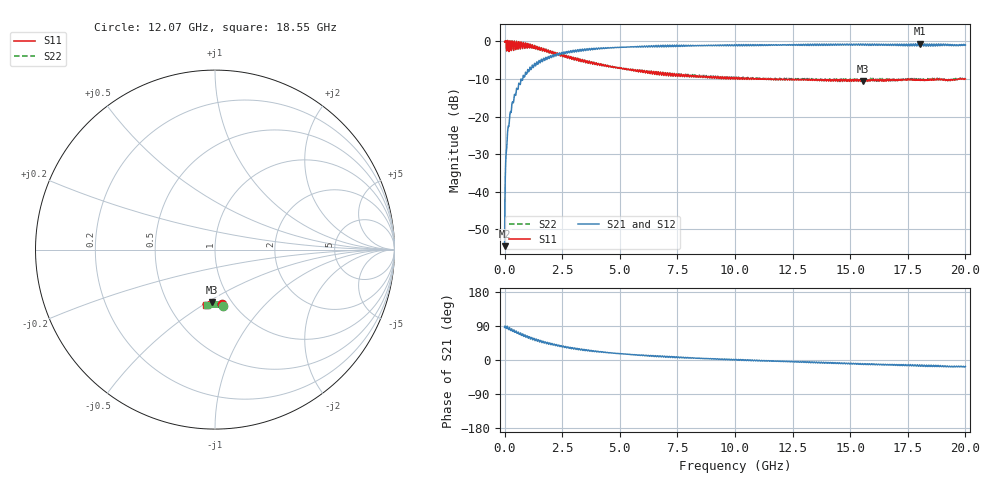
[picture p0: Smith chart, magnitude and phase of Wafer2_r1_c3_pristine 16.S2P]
!  2-Port S-parameters saved by WinCal
! VAR MeasName=S-Parameters (CALIBRATED_DATA) read from VNA (P5004A)
! VAR MeasDate=24/04/2024 16:19:15
! VAR NAME=Wafer2_r1_c3_pristine 16
! VAR FILENAME=Wafer2_r1_c3_pristine 16.S2P
! VAR DATE=24/04/2024 16:19:15
! VAR PHYS_PORTS=1,2
! VAR ObjTypeName=DATASET
! VAR IndexType=Frequency
# Hz S MA R 50
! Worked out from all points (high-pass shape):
!   4999 points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, 4.01 MHz to 20 GHz, reference 50 ohm
!   highest |S21| = -0.64 dB at 18.04 GHz (marker M1); lowest = -54.4 dB at 4.01 MHz (marker M2)
!   |S21| within 3 dB of the highest: 2.252 GHz to 2.321 GHz (69.85 MHz wide, 3.05 % of centre); 2.337 GHz to end of sweep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
!   lowest |S11| = -10.7 dB at 15.56 GHz (marker M3), VSWR 1.83, Z = 40.6 - j26 ohm
!   |S11| at or under -10 dB: 11.92 GHz to 18.46 GHz (6.541 GHz wide, 43.1 % of centre); 18.4675 GHz to 18.5571 GHz (89.6 MHz wide, 0.484 % of centre); 18.97 GHz to 19.69 GHz (714.4 MHz wide, 3.7 % of centre)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
!   |S22| runs from -10.7 to 0.2 dB; largest |S21 - S12| = 0.015
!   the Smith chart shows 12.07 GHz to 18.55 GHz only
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4009798  0.988 -3.1  0.001897 85.9  0.00192 85.9  0.9875 -3.0
7.602417e7  0.9003 -2.4  0.03336 83.5  0.03358 84.4  0.913 -2.3
1.080306e8  0.7905 -5.1  0.04457 87.5  0.04592 87.0  0.8213 -4.4
1.400369e8  1.025 -4.0  0.06651 84.3  0.06613 84.2  1.019 -4.2
1.840457e8  0.7684 -2.9  0.07435 81.5  0.07661 82.4  0.7955 -3.5
2.480585e8  0.9945 -8.6  0.1139 79.3  0.1128 79.5  1.003 -8.3
3.480785e8  0.9791 -11.6  0.1562 76.2  0.1553 76.4  0.9777 -11.3
4.921072e8  0.7835 -11.1  0.1974 76.0  0.2011 75.7  0.807 -11.5
6.281343e8  0.9735 -18.9  0.2771 68.3  0.2764 68.2  0.9737 -18.7
8.121711e8  0.9632 -22.1  0.3526 65.3  0.3537 65.2  0.9682 -21.7
1.032215e9  0.8779 -29.1  0.4045 57.5  0.4055 57.6  0.8794 -28.8
1.552319e9  0.7656 -35.5  0.5231 50.8  0.5242 50.5  0.7631 -35.1
2.436495e9  0.6399 -47.5  0.6706 37.5  0.6699 37.6  0.6405 -46.7
3.340676e9  0.5483 -55.0  0.7562 28.9  0.7557 28.9  0.5473 -54.0
4.752957e9  0.4549 -65.3  0.8233 18.1  0.8245 18.1  0.4559 -64.3
6.673341e9  0.3936 -72.0  0.8853 9.9  0.8845 9.5  0.3899 -70.1
1.0002e10  0.3174 -82.3  0.879 -0.2  0.8738 -0.2  0.3189 -79.4
1.333467e10  0.3127 -85.8  0.8909 -4.9  0.889 -4.7  0.3204 -83.0
1.555911e10  0.2933 -93.7  0.9245 -10.7  0.9201 -10.3  0.2947 -90.7
1.667134e10  0.2988 -96.8  0.9011 -13.6  0.8982 -12.7  0.3115 -93.0
1.803561e10  0.304 -96.0  0.9286 -14.6  0.9312 -15.2  0.3021 -97.1
2e10  0.3167 -97.4  0.892 -17.0  0.8949 -17.0  0.3181 -95.5
